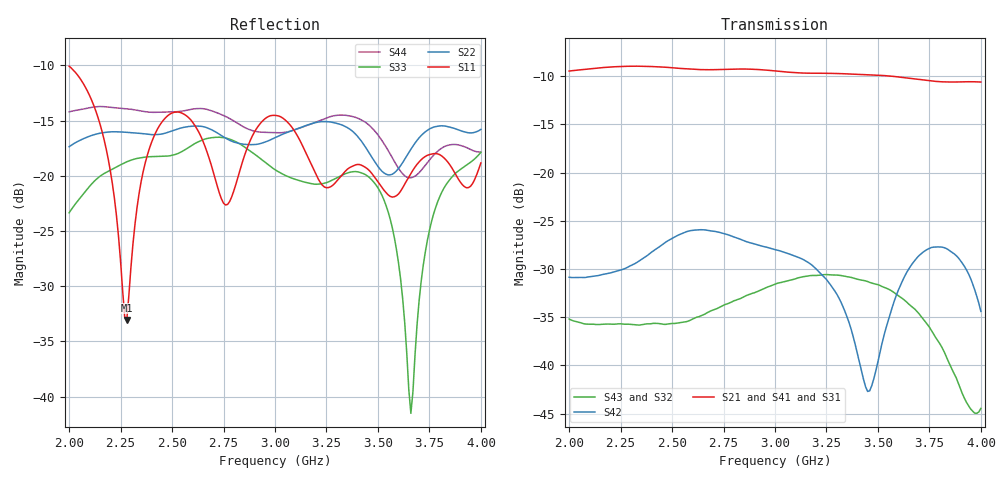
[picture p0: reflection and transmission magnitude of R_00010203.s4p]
!Agilent Technologies,N5224A,MY51441093,A.09.90.21
!Agilent N5224A: A.09.90.21
!Date: Friday, December 19, 2025 16:45:57
!Correction: S11(Full 4 Port(1,2,3,4))
!S12(Full 4 Port(1,2,3,4))
!S13(Full 4 Port(1,2,3,4))
!S14(Full 4 Port(1,2,3,4))
!S21(Full 4 Port(1,2,3,4))
!S22(Full 4 Port(1,2,3,4))
!S23(Full 4 Port(1,2,3,4))
!S24(Full 4 Port(1,2,3,4))
!S31(Full 4 Port(1,2,3,4))
!S32(Full 4 Port(1,2,3,4))
!S33(Full 4 Port(1,2,3,4))
!S34(Full 4 Port(1,2,3,4))
!S41(Full 4 Port(1,2,3,4))
!S42(Full 4 Port(1,2,3,4))
!S43(Full 4 Port(1,2,3,4))
!S44(Full 4 Port(1,2,3,4))
!S4P File: Measurements: <S11,S12,S13,S14>,
!<S21,S22,S23,S24>,
!<S31,S32,S33,S34>,
!<S41,S42,S43,S44>:
# Hz S  dB  R 50
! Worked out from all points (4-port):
!   201 points, 2 GHz to 4 GHz, reference 50 ohm
!   strongest paths, dB at 2 GHz, 2.5 GHz, 3 GHz, 3.5 GHz, 4 GHz:
!     S21: -9.5, -9.1, -9.5, -9.9, -10.6
!     S41: -9.7, -9.3, -9.5, -10.0, -10.5
!     S31: -9.6, -9.3, -9.7, -10.0, -10.6
!     S42: -30.9, -26.8, -28.0, -39.6, -34.4
!     S43: -35.2, -35.7, -31.6, -31.6, -44.5
!     S32: -34.8, -35.6, -31.5, -31.8, -44.5
!   lowest |S11| = -33.1 dB at 2.28 GHz (marker M1), VSWR 1.05, Z = 49.5 + j2.15 ohm
!   |S11| at or under -10 dB: start of sweep to end of sweep
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2e9  -10.08 -46.8  -9.44 -142.1  -9.56 -95.4  -9.78 -123.4
     -9.47 -142.1  -17.37 -33.4  -34.83 -45.6  -31.00 -90.5
     -9.61 -95.2  -34.85 -45.4  -23.36 28.2  -35.35 -27.0
     -9.67 -123.2  -30.86 -90.2  -35.19 -27.0  -14.21 -3.6
2.28e9  -33.06 102.5  -8.96 74.4  -9.18 118.2  -9.33 93.6
        -8.98 74.3  -16.07 -126.0  -35.55 28.8  -30.01 78.6
        -9.24 118.3  -35.61 29.0  -18.74 -93.7  -35.94 46.4
        -9.20 93.7  -29.87 78.7  -35.73 46.5  -13.94 -95.0
2.49e9  -14.41 -53.7  -9.08 -33.1  -9.22 11.3  -9.41 -13.4
        -9.11 -33.2  -16.00 -163.9  -35.65 -166.4  -27.09 -59.6
        -9.29 11.4  -35.70 -166.2  -18.19 -151.1  -35.87 -146.0
        -9.29 -13.3  -26.95 -59.5  -35.68 -146.0  -14.22 -142.9
3.46e9  -19.56 -107.9  -9.84 -155.8  -9.93 -112.8  -10.04 -134.5
        -9.87 -155.8  -18.02 60.5  -31.48 67.1  -42.70 -174.0
        -10.02 -112.4  -31.53 67.4  -20.18 47.5  -31.54 88.3
        -9.98 -134.2  -42.63 -173.7  -31.39 88.2  -15.47 47.7
3.66e9  -19.81 -105.1  -10.21 104.4  -10.11 148.2  -10.28 126.1
        -10.24 104.4  -17.60 74.2  -34.03 -114.7  -29.74 129.1
        -10.20 148.5  -34.09 -114.4  -41.51 66.8  -33.97 -91.7
        -10.24 126.5  -29.67 129.5  -33.83 -91.7  -20.18 40.4
3.76e9  -18.04 -133.9  -10.47 55.4  -10.36 98.9  -10.50 77.3
        -10.50 55.5  -15.67 58.2  -36.65 151.1  -27.84 66.3
        -10.45 99.4  -36.72 151.5  -24.16 116.6  -36.50 174.6
        -10.47 77.8  -27.77 66.6  -36.38 174.7  -18.36 42.7
4e9  -18.84 31.6  -10.56 -62.3  -10.54 -18.3  -10.51 -40.7
     -10.61 -62.1  -15.81 30.0  -44.52 -141.3  -34.47 -80.9
     -10.64 -17.7  -44.52 -141.1  -17.88 82.5  -44.59 -124.6
     -10.48 -39.9  -34.40 -80.3  -44.46 -124.3  -17.85 18.4
